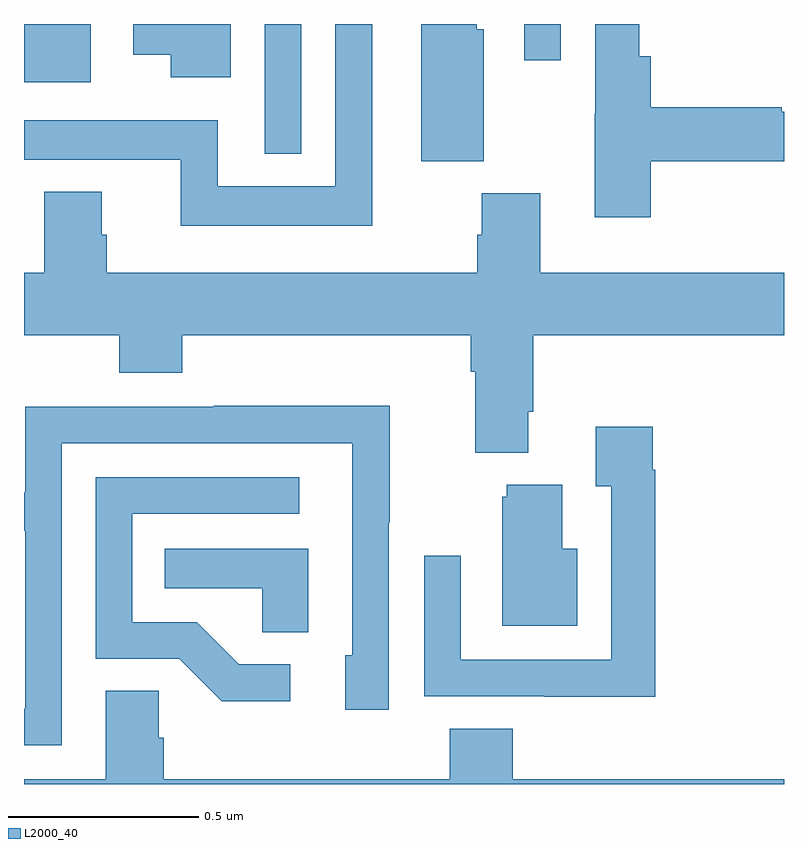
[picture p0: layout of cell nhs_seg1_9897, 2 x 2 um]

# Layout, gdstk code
import gdstk
lib = gdstk.Library(unit=1e-6, precision=1e-09)
def R(c, l, rs):  # rectangles x0, y0, x1, y1
    for r in rs: c.add(gdstk.rectangle(r[:2], r[2:], *l))
def P(c, l, *ps):  # polygons
    for p in ps: c.add(gdstk.Polygon(p, *l))
L2000_40 = (2000, 40)

nhs_seg1_9897 = lib.new_cell('nhs_seg1_9897')
R(nhs_seg1_9897, L2000_40, [(234.633,570.857,234.729,571.199), (234,571.046,234.175,571.199), (235.317,571.104,235.413,571.199)])
P(nhs_seg1_9897, L2000_40, [(235.21,571.185),(235.192,571.185),(235.192,571.199),(235.046,571.199),(235.046,570.838),(235.21,570.838)],
  [(234.916,571.199),(234.819,571.199),(234.819,570.772),(234.51,570.772),(234.51,570.946),(234,570.946),(234,570.842),(234.413,570.842),(234.413,570.668),(234.916,570.668)],
  [(234.544,571.199),(234.287,571.199),(234.287,571.118),(234.386,571.118),(234.386,571.059),(234.544,571.059)],
  [(235.649,570.838),(236,570.838),(236,570.968),(235.994,570.968),(235.994,570.98),(235.649,570.98),(235.649,571.114),(235.619,571.114),(235.619,571.199),(235.503,571.199),(235.503,570.963),(235.502,570.963),(235.502,570.69),(235.649,570.69)],
  [(235.327,570.178),(235.34,570.178),(235.34,570.38),(236,570.38),(236,570.544),(235.358,570.544),(235.358,570.753),(235.205,570.753),(235.205,570.644),(235.193,570.644),(235.193,570.544),(234.218,570.544),(234.218,570.645),(234.205,570.645),(234.205,570.757),(234.053,570.757),(234.053,570.544),(234,570.544),(234,570.38),(234.251,570.38),(234.251,570.281),(234.416,570.281),(234.416,570.38),(235.175,570.38),(235.175,570.284),(235.187,570.284),(235.187,570.071),(235.327,570.071)],
  [(234.099,570.096),(234.864,570.096),(234.864,569.538),(234.845,569.538),(234.845,569.394),(234.96,569.394),(234.96,569.887),(234.963,569.887),(234.963,570.194),(234.499,570.194),(234.499,570.192),(234.003,570.192),(234.003,569.967),(234,569.967),(234,569.866),(234.003,569.866),(234.003,569.397),(234,569.397),(234,569.301),(234.099,569.301)],
  [(235.661,570.026),(235.654,570.026),(235.654,570.139),(235.505,570.139),(235.505,569.983),(235.545,569.983),(235.545,569.526),(235.149,569.526),(235.149,569.8),(235.053,569.8),(235.053,569.43),(235.369,569.43),(235.369,569.429),(235.661,569.429)],
  [(234.7,569.514),(234.565,569.514),(234.454,569.625),(234.285,569.625),(234.285,569.91),(234.724,569.91),(234.724,570.006),(234.189,570.006),(234.189,569.529),(234.408,569.529),(234.521,569.417),(234.7,569.417)],
  [(235.456,569.818),(235.417,569.818),(235.417,569.986),(235.271,569.986),(235.271,569.955),(235.259,569.955),(235.259,569.615),(235.456,569.615)],
  [(234.748,569.818),(234.37,569.818),(234.37,569.714),(234.627,569.714),(234.627,569.599),(234.748,569.599)],
  [(236,569.212),(235.286,569.212),(235.286,569.345),(235.121,569.345),(235.121,569.212),(234.368,569.212),(234.368,569.321),(234.354,569.321),(234.354,569.444),(234.215,569.444),(234.215,569.212),(234,569.212),(234,569.199),(236,569.199)])

lib.write_gds('nhs_seg1_9897.gds')
